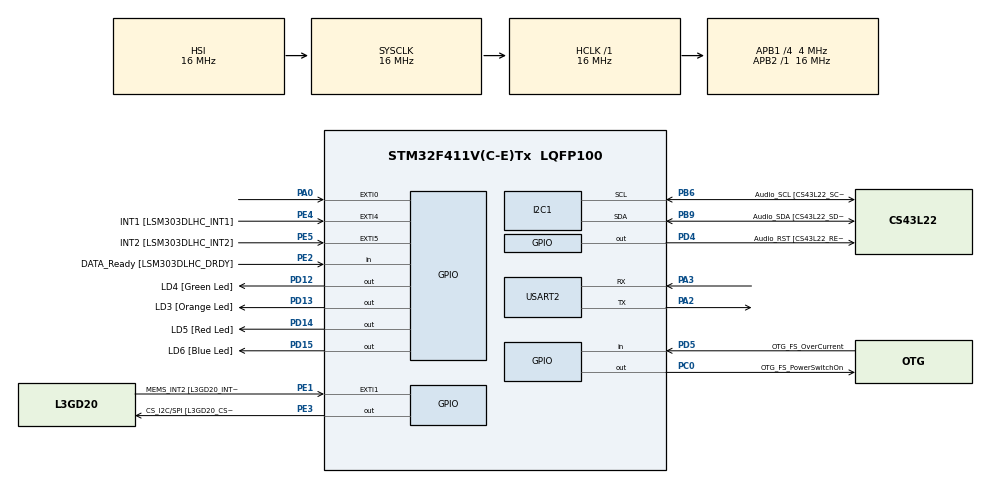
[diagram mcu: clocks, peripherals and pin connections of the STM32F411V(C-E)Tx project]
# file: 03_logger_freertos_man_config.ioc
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Mcu.Family=STM32F4
Mcu.Name=STM32F411V(C-E)Tx
Mcu.Package=LQFP100
NVIC.PriorityGroup=NVIC_PRIORITYGROUP_4
NVIC.TIM1_UP_TIM10_IRQn=true\:0\:0\:false\:false\:true\:false\:true\:true
NVIC.TimeBase=TIM1_UP_TIM10_IRQn
NVIC.TimeBaseIP=TIM1
PA0-WKUP.GPIO_ModeDefaultEXTI=GPIO_MODE_EVT_RISING
PA0-WKUP.Signal=GPXTI0
PA10.GPIO_Label=OTG_FS_ID
PA10.Signal=USB_OTG_FS_ID
PA11.GPIO_Label=OTG_FS_DM
PA11.Signal=USB_OTG_FS_DM
PA12.GPIO_Label=OTG_FS_DP
PA12.Signal=USB_OTG_FS_DP
PA13.GPIO_Label=SWDIO
PA13.Mode=Serial_Wire
PA13.Signal=SYS_JTMS-SWDIO
PA14.GPIO_Label=SWCLK
PA14.Mode=Serial_Wire
PA14.Signal=SYS_JTCK-SWCLK
PA2.Mode=Asynchronous
PA2.Signal=USART2_TX
PA3.Mode=Asynchronous
PA3.Signal=USART2_RX
PA4.GPIO_Label=I2S3_WS [CS43L22_LRCK]
PA4.GPIO_Mode=GPIO_MODE_AF_PP
PA4.GPIO_PuPd=GPIO_NOPULL
PA4.GPIO_Speed=GPIO_SPEED_FREQ_LOW
PA4.Signal=I2S3_WS
PA5.GPIO_Label=SPI1_SCK [L3GD20_SC/SPC]
PA5.Signal=SPI1_SCK
PA6.GPIO_Label=SPI1_MISO [L3GD20_AS0/SDO]
PA6.Signal=SPI1_MISO
PA7.GPIO_Label=SPI1_MOSI [L3GD20_SDA/SDI/SDO]
PA7.Signal=SPI1_MOSI
PA9.GPIO_Label=VBUS_FS
PA9.Signal=USB_OTG_FS_VBUS
PB10.GPIO_Label=CLK_IN [MP45DT02_CLK]
PB10.Signal=I2S2_CK
PB12.Signal=I2S2_WS
PB3.GPIO_Label=SWO
PB3.Signal=SYS_JTDO-SWO
PB6.GPIO_Label=Audio_SCL [CS43L22_SCL]
PB6.GPIO_Mode=GPIO_MODE_AF_OD
PB6.GPIO_Pu=GPIO_PULLUP
PB6.GPIO_PuPd=GPIO_NOPULL
PB6.GPIO_Speed=GPIO_SPEED_FREQ_LOW
PB6.Mode=I2C
PB6.Signal=I2C1_SCL
PB9.GPIO_Label=Audio_SDA [CS43L22_SDA]
PB9.GPIO_Mode=GPIO_MODE_AF_OD
PB9.GPIO_Pu=GPIO_PULLUP
PB9.GPIO_PuPd=GPIO_NOPULL
PB9.GPIO_Speed=GPIO_SPEED_FREQ_LOW
PB9.Mode=I2C
PB9.Signal=I2C1_SDA
PC0.GPIO_Label=OTG_FS_PowerSwitchOn
PC0.PinState=GPIO_PIN_SET
PC0.Signal=GPIO_Output
PC10.GPIO_Label=I2S3_SCK [CS43L22_SCLK]
PC10.GPIO_Mode=GPIO_MODE_AF_PP
PC10.GPIO_PuPd=GPIO_NOPULL
PC10.GPIO_Speed=GPIO_SPEED_FREQ_LOW
PC10.Signal=I2S3_CK
PC12.GPIO_Label=I2S3_SD [CS43L22_SDIN]
PC12.GPIO_Mode=GPIO_MODE_AF_PP
PC12.GPIO_PuPd=GPIO_NOPULL
PC12.GPIO_Speed=GPIO_SPEED_FREQ_LOW
PC12.Signal=I2S3_SD
PC14-OSC32_IN.GPIO_Label=PC14-OSC32_IN
PC14-OSC32_IN.Mode=LSE-External-Oscillator
PC14-OSC32_IN.Signal=RCC_OSC32_IN
PC15-OSC32_OUT.GPIO_Label=PC15-OSC32_OUT
PC15-OSC32_OUT.Mode=LSE-External-Oscillator
PC15-OSC32_OUT.Signal=RCC_OSC32_OUT
PC3.GPIO_Label=PDM_OUT [MP45DT02_DOUT]
PC3.Signal=I2S2_SD
PC7.GPIO_Label=I2S3_MCK [CS43L22_MCLK]
PC7.GPIO_Mode=GPIO_MODE_AF_PP
PC7.GPIO_PuPd=GPIO_NOPULL
PC7.GPIO_Speed=GPIO_SPEED_FREQ_LOW
PC7.Signal=I2S3_MCK
PD12.GPIO_Label=LD4 [Green Led]
PD12.GPIO_PuPd=GPIO_NOPULL
PD12.GPIO_Speed=GPIO_SPEED_FREQ_LOW
PD12.Signal=GPIO_Output
PD13.GPIO_Label=LD3 [Orange Led]
PD13.GPIO_PuPd=GPIO_NOPULL
PD13.GPIO_Speed=GPIO_SPEED_FREQ_LOW
PD13.Signal=GPIO_Output
PD14.GPIO_Label=LD5 [Red Led]
PD14.GPIO_PuPd=GPIO_NOPULL
PD14.GPIO_Speed=GPIO_SPEED_FREQ_LOW
PD14.Signal=GPIO_Output
PD15.GPIO_Label=LD6 [Blue Led]
PD15.GPIO_PuPd=GPIO_NOPULL
PD15.GPIO_Speed=GPIO_SPEED_FREQ_LOW
PD15.Signal=GPIO_Output
PD4.GPIO_Label=Audio_RST [CS43L22_RESET]
PD4.Signal=GPIO_Output
PD5.GPIO_Label=OTG_FS_OverCurrent
PD5.Signal=GPIO_Input
PE1.GPIO_Label=MEMS_INT2 [L3GD20_INT2]
PE1.GPIO_ModeDefaultEXTI=GPIO_MODE_EVT_RISING
PE1.Signal=GPXTI1
PE2.GPIO_Label=DATA_Ready [LSM303DLHC_DRDY]
PE2.Signal=GPIO_Input
PE3.GPIO_Label=CS_I2C/SPI [L3GD20_CS_I2C/SPI]
PE3.Signal=GPIO_Output
PE4.GPIO_Label=INT1 [LSM303DLHC_INT1]
PE4.GPIO_ModeDefaultEXTI=GPIO_MODE_EVT_RISING
PE4.Signal=GPXTI4
PE5.GPIO_Label=INT2 [LSM303DLHC_INT2]
PE5.GPIO_ModeDefaultEXTI=GPIO_MODE_EVT_RISING
PE5.Signal=GPXTI5
PH0\ -\ OSC_IN.GPIO_Label=PH0-OSC_IN
PH0\ -\ OSC_IN.Mode=HSE-External-Clock-Source
PH0\ -\ OSC_IN.Signal=RCC_OSC_IN
PH1\ -\ OSC_OUT.GPIO_Label=PH1-OSC_OUT
PH1\ -\ OSC_OUT.Mode=HSE-External-Clock-Source
PH1\ -\ OSC_OUT.Signal=RCC_OSC_OUT
ProjectManager.HeapSize=0x200
ProjectManager.StackSize=0x400
ProjectManager.TargetToolchain=STM32CubeIDE
RCC.48MHZClocksFreq_Value=48000000
RCC.AHBFreq_Value=16000000
RCC.APB1CLKDivider=RCC_HCLK_DIV4
RCC.APB1Freq_Value=4000000
RCC.APB1TimFreq_Value=8000000
RCC.APB2Freq_Value=16000000
RCC.APB2TimFreq_Value=16000000
RCC.CortexFreq_Value=16000000
RCC.HCLKFreq_Value=16000000
RCC.HSE_VALUE=8000000
RCC.HSI_VALUE=16000000
RCC.PLLI2SM=5
RCC.PLLI2SN=200
RCC.PLLM=4
RCC.PLLP=RCC_PLLP_DIV4
RCC.PLLQ=8
RCC.PLLSourceVirtual=RCC_PLLSOURCE_HSE
RCC.SYSCLKFreq_VALUE=16000000
RCC.VCOOutputFreq_Value=384000000
USART2.VirtualMode=VM_ASYNC
VP_RTC_VS_RTC_Activate.Mode=RTC_Enabled
VP_SYS_VS_tim1.Mode=TIM1
board=STM32F411E-DISCO

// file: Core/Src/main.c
/* USER CODE BEGIN Header */
/**
  ******************************************************************************
  * @file           : main.c
  * @brief          : Main program body
  ******************************************************************************
  * @attention
  *
  * Copyright (c) 2025 STMicroelectronics.
  * All rights reserved.
  *
  * This software is licensed under terms that can be found in the LICENSE file
  * in the root directory of this software component.
  * If no LICENSE file comes with this software, it is provided AS-IS.
  *
  ******************************************************************************
  */
/* USER CODE END Header */
#include "main.h"

/* USER CODE BEGIN Includes */
#include "FreeRTOS.h"
#include "task.h"
#include "logger.h"
/* USER CODE END Includes */

I2C_HandleTypeDef hi2c1;

RTC_HandleTypeDef hrtc;

UART_HandleTypeDef huart2;

void SystemClock_Config(void);
static void MX_GPIO_Init(void);
static void MX_I2C1_Init(void);
static void MX_RTC_Init(void);
static void MX_USART2_UART_Init(void);
/* USER CODE BEGIN PFP */
/* Private function prototypes */
void StartDefaultTask(void const * argument);
void LoggerTask(void  * argument);
void SensorTask(void  * argument);
/* USER CODE END PFP */

/* USER CODE BEGIN 0 */
void LoggerTask(void * argument)
{
  for(;;)
  {
    LOG_INFO("LOGGER", "Periodic log message");
    vTaskDelay(pdMS_TO_TICKS(1000));
  }
  vTaskDelete(NULL);
}

void SensorTask(void * argument)
{
  for(;;)
  {
    LOG_INFO("SENSOR", "Reading sensor data");
    vTaskDelay(pdMS_TO_TICKS(5000));
  }
  vTaskDelete(NULL);
}
/* USER CODE END 0 */

int main(void)
{

  /* USER CODE BEGIN 1 */
	TaskHandle_t LoggerTask_Handle;
	TaskHandle_t SensorTask_Handle;
	BaseType_t status;
  /* USER CODE END 1 */

  /* MCU Configuration--------------------------------------------------------*/

  /* Reset of all peripherals, Initializes the Flash interface and the Systick. */
  HAL_Init();

  /* Configure the system clock */
  SystemClock_Config();

  /* Initialize all configured peripherals */
  MX_GPIO_Init();
  MX_I2C1_Init();
  MX_RTC_Init();
  MX_USART2_UART_Init();
  /* USER CODE BEGIN 2 */
  status = xTaskCreate(LoggerTask, "Logger", 350, NULL, 1, &LoggerTask_Handle);
  configASSERT(status==pdPASS);
  status = xTaskCreate(SensorTask, "Sensor", 350, NULL, 2, &SensorTask_Handle);
  configASSERT(status==pdPASS);

  /* USER CODE END 2 */

  /* Infinite loop */
  /* USER CODE BEGIN WHILE */
  /* Start scheduler */
  vTaskStartScheduler();
  while (1)
  {
    /* USER CODE END WHILE */

  }
}

void SystemClock_Config(void)
{
  RCC_OscInitTypeDef RCC_OscInitStruct = {0};
  RCC_ClkInitTypeDef RCC_ClkInitStruct = {0};

  /** Configure the main internal regulator output voltage
  */
  __HAL_RCC_PWR_CLK_ENABLE();
  __HAL_PWR_VOLTAGESCALING_CONFIG(PWR_REGULATOR_VOLTAGE_SCALE1);

  /** Initializes the RCC Oscillators according to the specified parameters
  * in the RCC_OscInitTypeDef structure.
  */
  RCC_OscInitStruct.OscillatorType = RCC_OSCILLATORTYPE_HSI|RCC_OSCILLATORTYPE_LSI;
  RCC_OscInitStruct.HSIState = RCC_HSI_ON;
  RCC_OscInitStruct.HSICalibrationValue = RCC_HSICALIBRATION_DEFAULT;
  RCC_OscInitStruct.LSIState = RCC_LSI_ON;
  RCC_OscInitStruct.PLL.PLLState = RCC_PLL_NONE;
  if (HAL_RCC_OscConfig(&RCC_OscInitStruct) != HAL_OK)
  {
    Error_Handler();
  }

  /** Initializes the CPU, AHB and APB buses clocks
  */
  RCC_ClkInitStruct.ClockType = RCC_CLOCKTYPE_HCLK|RCC_CLOCKTYPE_SYSCLK
                              |RCC_CLOCKTYPE_PCLK1|RCC_CLOCKTYPE_PCLK2;
  RCC_ClkInitStruct.SYSCLKSource = RCC_SYSCLKSOURCE_HSI;
  RCC_ClkInitStruct.AHBCLKDivider = RCC_SYSCLK_DIV1;
  RCC_ClkInitStruct.APB1CLKDivider = RCC_HCLK_DIV4;
  RCC_ClkInitStruct.APB2CLKDivider = RCC_HCLK_DIV1;

  if (HAL_RCC_ClockConfig(&RCC_ClkInitStruct, FLASH_LATENCY_0) != HAL_OK)
  {
    Error_Handler();
  }
}

static void MX_I2C1_Init(void)
{

  hi2c1.Instance = I2C1;
  hi2c1.Init.ClockSpeed = 100000;
  hi2c1.Init.DutyCycle = I2C_DUTYCYCLE_2;
  hi2c1.Init.OwnAddress1 = 0;
  hi2c1.Init.AddressingMode = I2C_ADDRESSINGMODE_7BIT;
  hi2c1.Init.DualAddressMode = I2C_DUALADDRESS_DISABLE;
  hi2c1.Init.OwnAddress2 = 0;
  hi2c1.Init.GeneralCallMode = I2C_GENERALCALL_DISABLE;
  hi2c1.Init.NoStretchMode = I2C_NOSTRETCH_DISABLE;
  if (HAL_I2C_Init(&hi2c1) != HAL_OK)
  {
    Error_Handler();
  }

}

static void MX_RTC_Init(void)
{

  /** Initialize RTC Only
  */
  hrtc.Instance = RTC;
  hrtc.Init.HourFormat = RTC_HOURFORMAT_24;
  hrtc.Init.AsynchPrediv = 127;
  hrtc.Init.SynchPrediv = 255;
  hrtc.Init.OutPut = RTC_OUTPUT_DISABLE;
  hrtc.Init.OutPutPolarity = RTC_OUTPUT_POLARITY_HIGH;
  hrtc.Init.OutPutType = RTC_OUTPUT_TYPE_OPENDRAIN;
  if (HAL_RTC_Init(&hrtc) != HAL_OK)
  {
    Error_Handler();
  }

}

static void MX_USART2_UART_Init(void)
{

  huart2.Instance = USART2;
  huart2.Init.BaudRate = 115200;
  huart2.Init.WordLength = UART_WORDLENGTH_8B;
  huart2.Init.StopBits = UART_STOPBITS_1;
  huart2.Init.Parity = UART_PARITY_NONE;
  huart2.Init.Mode = UART_MODE_TX_RX;
  huart2.Init.HwFlowCtl = UART_HWCONTROL_NONE;
  huart2.Init.OverSampling = UART_OVERSAMPLING_16;
  if (HAL_UART_Init(&huart2) != HAL_OK)
  {
    Error_Handler();
  }

}

static void MX_GPIO_Init(void)
{
  GPIO_InitTypeDef GPIO_InitStruct = {0};

  /* GPIO Ports Clock Enable */
  __HAL_RCC_GPIOE_CLK_ENABLE();
  __HAL_RCC_GPIOC_CLK_ENABLE();
  __HAL_RCC_GPIOH_CLK_ENABLE();
  __HAL_RCC_GPIOA_CLK_ENABLE();
  __HAL_RCC_GPIOB_CLK_ENABLE();
  __HAL_RCC_GPIOD_CLK_ENABLE();

  /*Configure GPIO pin Output Level */
  HAL_GPIO_WritePin(CS_I2C_SPI_GPIO_Port, CS_I2C_SPI_Pin, GPIO_PIN_RESET);

  /*Configure GPIO pin Output Level */
  HAL_GPIO_WritePin(OTG_FS_PowerSwitchOn_GPIO_Port, OTG_FS_PowerSwitchOn_Pin, GPIO_PIN_SET);

  /*Configure GPIO pin Output Level */
  HAL_GPIO_WritePin(GPIOD, LD4_Pin|LD3_Pin|LD5_Pin|LD6_Pin
                          |Audio_RST_Pin, GPIO_PIN_RESET);

  /*Configure GPIO pin : DATA_Ready_Pin */
  GPIO_InitStruct.Pin = DATA_Ready_Pin;
  GPIO_InitStruct.Mode = GPIO_MODE_INPUT;
  GPIO_InitStruct.Pull = GPIO_NOPULL;
  HAL_GPIO_Init(DATA_Ready_GPIO_Port, &GPIO_InitStruct);

  /*Configure GPIO pin : CS_I2C_SPI_Pin */
  GPIO_InitStruct.Pin = CS_I2C_SPI_Pin;
  GPIO_InitStruct.Mode = GPIO_MODE_OUTPUT_PP;
  GPIO_InitStruct.Pull = GPIO_NOPULL;
  GPIO_InitStruct.Speed = GPIO_SPEED_FREQ_LOW;
  HAL_GPIO_Init(CS_I2C_SPI_GPIO_Port, &GPIO_InitStruct);

  /*Configure GPIO pins : INT1_Pin INT2_Pin MEMS_INT2_Pin */
  GPIO_InitStruct.Pin = INT1_Pin|INT2_Pin|MEMS_INT2_Pin;
  GPIO_InitStruct.Mode = GPIO_MODE_EVT_RISING;
  GPIO_InitStruct.Pull = GPIO_NOPULL;
  HAL_GPIO_Init(GPIOE, &GPIO_InitStruct);

  /*Configure GPIO pin : OTG_FS_PowerSwitchOn_Pin */
  GPIO_InitStruct.Pin = OTG_FS_PowerSwitchOn_Pin;
  GPIO_InitStruct.Mode = GPIO_MODE_OUTPUT_PP;
  GPIO_InitStruct.Pull = GPIO_NOPULL;
  GPIO_InitStruct.Speed = GPIO_SPEED_FREQ_LOW;
  HAL_GPIO_Init(OTG_FS_PowerSwitchOn_GPIO_Port, &GPIO_InitStruct);

  /*Configure GPIO pin : PDM_OUT_Pin */
  GPIO_InitStruct.Pin = PDM_OUT_Pin;
  GPIO_InitStruct.Mode = GPIO_MODE_AF_PP;
  GPIO_InitStruct.Pull = GPIO_NOPULL;
  GPIO_InitStruct.Speed = GPIO_SPEED_FREQ_LOW;
  GPIO_InitStruct.Alternate = GPIO_AF5_SPI2;
  HAL_GPIO_Init(PDM_OUT_GPIO_Port, &GPIO_InitStruct);

  /*Configure GPIO pin : PA0 */
  GPIO_InitStruct.Pin = GPIO_PIN_0;
  GPIO_InitStruct.Mode = GPIO_MODE_EVT_RISING;
  GPIO_InitStruct.Pull = GPIO_NOPULL;
  HAL_GPIO_Init(GPIOA, &GPIO_InitStruct);

  /*Configure GPIO pin : I2S3_WS_Pin */
  GPIO_InitStruct.Pin = I2S3_WS_Pin;
  GPIO_InitStruct.Mode = GPIO_MODE_AF_PP;
  GPIO_InitStruct.Pull = GPIO_NOPULL;
  GPIO_InitStruct.Speed = GPIO_SPEED_FREQ_LOW;
  GPIO_InitStruct.Alternate = GPIO_AF6_SPI3;
  HAL_GPIO_Init(I2S3_WS_GPIO_Port, &GPIO_InitStruct);

  /*Configure GPIO pins : SPI1_SCK_Pin SPI1_MISO_Pin SPI1_MOSI_Pin */
  GPIO_InitStruct.Pin = SPI1_SCK_Pin|SPI1_MISO_Pin|SPI1_MOSI_Pin;
  GPIO_InitStruct.Mode = GPIO_MODE_AF_PP;
  GPIO_InitStruct.Pull = GPIO_NOPULL;
  GPIO_InitStruct.Speed = GPIO_SPEED_FREQ_VERY_HIGH;
  GPIO_InitStruct.Alternate = GPIO_AF5_SPI1;
  HAL_GPIO_Init(GPIOA, &GPIO_InitStruct);

  /*Configure GPIO pins : CLK_IN_Pin PB12 */
  GPIO_InitStruct.Pin = CLK_IN_Pin|GPIO_PIN_12;
  GPIO_InitStruct.Mode = GPIO_MODE_AF_PP;
  GPIO_InitStruct.Pull = GPIO_NOPULL;
  GPIO_InitStruct.Speed = GPIO_SPEED_FREQ_LOW;
  GPIO_InitStruct.Alternate = GPIO_AF5_SPI2;
  HAL_GPIO_Init(GPIOB, &GPIO_InitStruct);

  /*Configure GPIO pins : LD4_Pin LD3_Pin LD5_Pin LD6_Pin
                           Audio_RST_Pin */
  GPIO_InitStruct.Pin = LD4_Pin|LD3_Pin|LD5_Pin|LD6_Pin
                          |Audio_RST_Pin;
  GPIO_InitStruct.Mode = GPIO_MODE_OUTPUT_PP;
  GPIO_InitStruct.Pull = GPIO_NOPULL;
  GPIO_InitStruct.Speed = GPIO_SPEED_FREQ_LOW;
  HAL_GPIO_Init(GPIOD, &GPIO_InitStruct);

  /*Configure GPIO pins : I2S3_MCK_Pin I2S3_SCK_Pin I2S3_SD_Pin */
  GPIO_InitStruct.Pin = I2S3_MCK_Pin|I2S3_SCK_Pin|I2S3_SD_Pin;
  GPIO_InitStruct.Mode = GPIO_MODE_AF_PP;
  GPIO_InitStruct.Pull = GPIO_NOPULL;
  GPIO_InitStruct.Speed = GPIO_SPEED_FREQ_LOW;
  GPIO_InitStruct.Alternate = GPIO_AF6_SPI3;
  HAL_GPIO_Init(GPIOC, &GPIO_InitStruct);

  /*Configure GPIO pin : VBUS_FS_Pin */
  GPIO_InitStruct.Pin = VBUS_FS_Pin;
  GPIO_InitStruct.Mode = GPIO_MODE_INPUT;
  GPIO_InitStruct.Pull = GPIO_NOPULL;
  HAL_GPIO_Init(VBUS_FS_GPIO_Port, &GPIO_InitStruct);

  /*Configure GPIO pins : OTG_FS_ID_Pin OTG_FS_DM_Pin OTG_FS_DP_Pin */
  GPIO_InitStruct.Pin = OTG_FS_ID_Pin|OTG_FS_DM_Pin|OTG_FS_DP_Pin;
  GPIO_InitStruct.Mode = GPIO_MODE_AF_PP;
  GPIO_InitStruct.Pull = GPIO_NOPULL;
  GPIO_InitStruct.Speed = GPIO_SPEED_FREQ_VERY_HIGH;
  GPIO_InitStruct.Alternate = GPIO_AF10_OTG_FS;
  HAL_GPIO_Init(GPIOA, &GPIO_InitStruct);

  /*Configure GPIO pin : OTG_FS_OverCurrent_Pin */
  GPIO_InitStruct.Pin = OTG_FS_OverCurrent_Pin;
  GPIO_InitStruct.Mode = GPIO_MODE_INPUT;
  GPIO_InitStruct.Pull = GPIO_NOPULL;
  HAL_GPIO_Init(OTG_FS_OverCurrent_GPIO_Port, &GPIO_InitStruct);

}

void HAL_TIM_PeriodElapsedCallback(TIM_HandleTypeDef *htim)
{
  if (htim->Instance == TIM1)
  {
    HAL_IncTick();
  }
}

void Error_Handler(void)
{
  __disable_irq();
  while (1)
  {
  }
}
